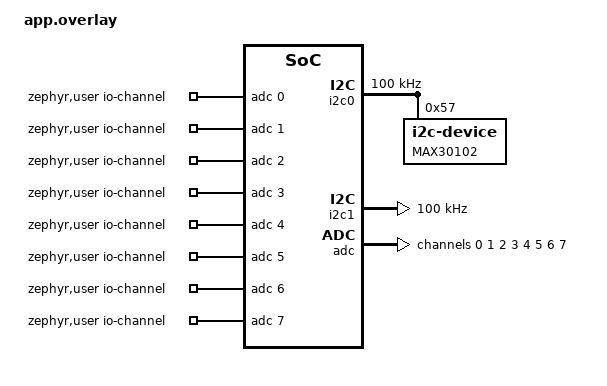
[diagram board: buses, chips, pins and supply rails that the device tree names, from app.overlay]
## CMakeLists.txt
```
#
# Copyright (c) 2018 Nordic Semiconductor
#
# SPDX-License-Identifier: LicenseRef-Nordic-5-Clause
#
cmake_minimum_required(VERSION 3.20.0)

find_package(Zephyr REQUIRED HINTS $ENV{ZEPHYR_BASE})
project(peripheral_uart)

# Add the src directory to include path
target_include_directories(app PRIVATE ${CMAKE_CURRENT_SOURCE_DIR}/src)
target_sources(app PRIVATE
  src/main.c
  src/adc.c
  src/i2c.c
  src/BMP280.c
  src/MLX90614.c
  src/MPU6050.c
  src/MAX30102.c
  src/spo2_algorithm.c
  src/aggregator.c
)

# # NORDIC SDK APP START
# target_sources(app PRIVATE
#   src/main.c
# )

# NORDIC SDK APP END
```

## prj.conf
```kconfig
CONFIG_BT=y
CONFIG_LOG=y
CONFIG_BT_SMP=y
CONFIG_BT_PERIPHERAL=y
CONFIG_BT_DIS=y
CONFIG_BT_DIS_PNP=n
CONFIG_BT_BAS=y
CONFIG_BT_DEVICE_NAME="Lunar Vitals"
CONFIG_BT_DEVICE_APPEARANCE=768
CONFIG_CBPRINTF_FP_SUPPORT=y 

# # Enable the UART driver
# CONFIG_UART_ASYNC_API=y
# CONFIG_NRFX_UARTE0=y
CONFIG_ADC=y
CONFIG_GPIO=y

# Make sure printk is printing to the UART console
CONFIG_CONSOLE=y


CONFIG_HEAP_MEM_POOL_SIZE=2048




# # Enable the NUS service
# CONFIG_BT_NUS=y

# # Enable bonding
# CONFIG_BT_SETTINGS=y
CONFIG_FLASH=y
CONFIG_FLASH_PAGE_LAYOUT=y
CONFIG_FLASH_MAP=y
CONFIG_NVS=y
CONFIG_SETTINGS=y

# Enable DK LED and Buttons library
CONFIG_DK_LIBRARY=y

# This example requires more stack
CONFIG_MAIN_STACK_SIZE=1152
CONFIG_SYSTEM_WORKQUEUE_STACK_SIZE=2048

# Config logger
CONFIG_LOG=y
CONFIG_USE_SEGGER_RTT=y
CONFIG_LOG_BACKEND_RTT=y

CONFIG_LOG_PRINTK=n

CONFIG_ASSERT=n

#i2C
CONFIG_I2C=y
CONFIG_I2C_NRFX=y

CONFIG_CBPRINTF_FP_SUPPORT=y
CONFIG_PRINTK=y
```

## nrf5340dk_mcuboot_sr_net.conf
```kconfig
#
# Copyright (c) 2022 Nordic Semiconductor
#
# SPDX-License-Identifier: LicenseRef-Nordic-5-Clause
#

CONFIG_MAIN_STACK_SIZE=10240
# Flash
CONFIG_FLASH=y

# MCUBoot serial
CONFIG_MCUBOOT_SERIAL=y
CONFIG_MCUBOOT_SERIAL_DIRECT_IMAGE_UPLOAD=y

# Decrease memory footprint
CONFIG_CBPRINTF_NANO=y
CONFIG_TIMESLICING=n
CONFIG_BOOT_BANNER=n
CONFIG_CONSOLE=n
CONFIG_CONSOLE_HANDLER=n
CONFIG_UART_CONSOLE=n
CONFIG_RTT_CONSOLE=n
CONFIG_USE_SEGGER_RTT=n
CONFIG_LOG=n
CONFIG_RESET_ON_FATAL_ERROR=n

# The following configurations are required to support serial recovery of the
# network image
CONFIG_PCD_APP=y

CONFIG_FLASH_SIMULATOR=y
CONFIG_FLASH_SIMULATOR_DOUBLE_WRITES=y
CONFIG_FLASH_SIMULATOR_STATS=n

CONFIG_BOOT_IMAGE_ACCESS_HOOKS=y
CONFIG_NRF53_RECOVERY_NETWORK_CORE=y

CONFIG_MCUBOOT_INDICATION_LED=y

CONFIG_BOOTLOADER_MCUBOOT=y
CONFIG_NRF53_UPGRADE_NETWORK_CORE=y
CONFIG_ADD_MCUBOOT_MEDIATE_SIM_FLASH_DTS=y
```

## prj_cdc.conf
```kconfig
#
# Copyright (c) 2021 Nordic Semiconductor
#
# SPDX-License-Identifier: LicenseRef-Nordic-5-Clause
#

# Enable the UART driver
CONFIG_UART_LINE_CTRL=y
CONFIG_UART_INTERRUPT_DRIVEN=y
CONFIG_UART_ASYNC_ADAPTER=y
CONFIG_USB_DEVICE_STACK=y
CONFIG_USB_DEVICE_REMOTE_WAKEUP=n
CONFIG_USB_CDC_ACM=y
CONFIG_USB_CDC_ACM_LOG_LEVEL_OFF=y

# Disable the UARTE0 enabled in default project configuration
CONFIG_NRFX_UARTE0=n
CONFIG_UART_NRFX=n

SB_CONFIG_NETCORE_IPC_RADIO_BT_RPC=y
SB_CONFIG_NETCORE_IPC_RADIO_BT_HCI_IPC=y
```

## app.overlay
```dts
/*
 * Copyright (c) 2022 Nordic Semiconductor ASA
 *
 * SPDX-License-Identifier: LicenseRef-Nordic-5-Clause
 */

/ {
	
	zephyr,user {
		// List all channels for io-channels
		io-channels = <&adc 0>, <&adc 1>, <&adc 2>, <&adc 3>,
		              <&adc 4>, <&adc 5>, <&adc 6>, <&adc 7>;
	};
	chosen {
		nordic,nus-uart = &uart0;
	};

};

&i2c0 {
    compatible = "nordic,nrf-twim";
    status = "okay";
    clock-frequency = <I2C_BITRATE_STANDARD>;
	max30102: max30102@57 {
        compatible = "i2c-device";
        reg = <0x57>;
        label = "MAX30102";
    }; 
};

&i2c1 {
    status = "okay";  
	clock-frequency = <I2C_BITRATE_STANDARD>;
};

&adc {
	#address-cells = <1>;
	#size-cells = <0>;
	status = "okay";

	// Define ADC channels
	channel@0 {
		reg = <0>;
		zephyr,gain = "ADC_GAIN_1_6";
		zephyr,reference = "ADC_REF_INTERNAL";
		zephyr,acquisition-time = <ADC_ACQ_TIME_DEFAULT>;
		zephyr,input-positive = <NRF_SAADC_AIN0>; /* P0.02 */
		zephyr,resolution = <12>;
	};

	channel@1 {
		reg = <1>;
		zephyr,gain = "ADC_GAIN_1_6";
		zephyr,reference = "ADC_REF_INTERNAL";
		zephyr,acquisition-time = <ADC_ACQ_TIME_DEFAULT>;
		zephyr,input-positive = <NRF_SAADC_AIN1>; /* P0.03 */
		zephyr,resolution = <12>;
	};

	channel@2 {
		reg = <2>;
		zephyr,gain = "ADC_GAIN_1_6";
		zephyr,reference = "ADC_REF_INTERNAL";
		zephyr,acquisition-time = <ADC_ACQ_TIME_DEFAULT>;
		zephyr,input-positive = <NRF_SAADC_AIN2>; /* P0.04 */
		zephyr,resolution = <12>;
	};

	channel@3 {
		reg = <3>;
		zephyr,gain = "ADC_GAIN_1_6";
		zephyr,reference = "ADC_REF_INTERNAL";
		zephyr,acquisition-time = <ADC_ACQ_TIME_DEFAULT>;
		zephyr,input-positive = <NRF_SAADC_AIN3>; /* P0.05 */
		zephyr,resolution = <12>;
	};

	channel@4 {
		reg = <4>;
		zephyr,gain = "ADC_GAIN_1_6";
		zephyr,reference = "ADC_REF_INTERNAL";
		zephyr,acquisition-time = <ADC_ACQ_TIME_DEFAULT>;
		zephyr,input-positive = <NRF_SAADC_AIN4>; /* P0.28 */
		zephyr,resolution = <12>;
	};

	channel@5 {
		reg = <5>;
		zephyr,gain = "ADC_GAIN_1_6";
		zephyr,reference = "ADC_REF_INTERNAL";
		zephyr,acquisition-time = <ADC_ACQ_TIME_DEFAULT>;
		zephyr,input-positive = <NRF_SAADC_AIN5>; /* P0.29 */
		zephyr,resolution = <12>;
	};

	channel@6 {
		reg = <6>;
		zephyr,gain = "ADC_GAIN_1_6";
		zephyr,reference = "ADC_REF_INTERNAL";
		zephyr,acquisition-time = <ADC_ACQ_TIME_DEFAULT>;
		zephyr,input-positive = <NRF_SAADC_AIN6>; /* P0.30 */
		zephyr,resolution = <12>;
	};

	channel@7 {
		reg = <7>;
		zephyr,gain = "ADC_GAIN_1_6";
		zephyr,reference = "ADC_REF_INTERNAL";
		zephyr,acquisition-time = <ADC_ACQ_TIME_DEFAULT>;
		zephyr,input-positive = <NRF_SAADC_AIN7>; /* P0.31 */
		zephyr,resolution = <12>;
	};
};
```

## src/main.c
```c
#include <zephyr/device.h>
#include <zephyr/drivers/i2c.h>
#include <zephyr/sys/printk.h>
#include <zephyr/kernel.h>
#include <stdint.h>
#include <stdio.h>
#include <stdlib.h>
#include "adc.h"
#include "MPU6050.h"
#include "MLX90614.h"
#include "BMP280.h"
#include "MAX30102.h"
#include "heart_rate.h"
#include "aggregator.h"
#include "i2c.h"

//------------bluetooth---------------

#include <zephyr/types.h>
#include <stddef.h>
#include <string.h>
#include <errno.h>
#include <zephyr/sys/printk.h>
#include <zephyr/sys/byteorder.h>
#include <zephyr/kernel.h>

#include <zephyr/bluetooth/bluetooth.h>
#include <zephyr/bluetooth/hci.h>
#include <zephyr/bluetooth/conn.h>
#include <zephyr/bluetooth/uuid.h>
#include <zephyr/bluetooth/gatt.h>
#include <zephyr/bluetooth/services/bas.h>

static const struct i2c_dt_spec dev_max30102 = MAX30102_DT_SPEC;

// Global buffer to store the current message
static char gatt_string_msg[1024] = "Hello, World!";

static const struct bt_data ad[] = {
	BT_DATA_BYTES(BT_DATA_FLAGS, (BT_LE_AD_GENERAL | BT_LE_AD_NO_BREDR)),
	BT_DATA_BYTES(BT_DATA_UUID16_ALL,
		      BT_UUID_16_ENCODE(BT_UUID_HTS_VAL),
		      BT_UUID_16_ENCODE(BT_UUID_DIS_VAL),
		      BT_UUID_16_ENCODE(BT_UUID_BAS_VAL)),
};

static const struct bt_data sd[] = {
	BT_DATA(BT_DATA_NAME_COMPLETE, CONFIG_BT_DEVICE_NAME, sizeof(CONFIG_BT_DEVICE_NAME) - 1),
};

#define BT_UUID_GATT_STRING BT_UUID_DECLARE_16(BT_UUID_GATT_STRING_VAL)

static ssize_t read_gatt_string(struct bt_conn *conn,
	const struct bt_gatt_attr *attr,
	void *buf, uint16_t len, uint16_t offset)
{
	return bt_gatt_attr_read(conn, attr, buf, len, offset, gatt_string_msg, strlen(gatt_string_msg));
}

static ssize_t write_gatt_string(struct bt_conn *conn, 
                                 const struct bt_gatt_attr *attr,
                                 const void *buf, 
                                 uint16_t len,
                                 uint16_t offset, 
                                 uint8_t flags)
{
    char value[1024]; // Adjust size as needed
    memcpy(value, buf, len);
    value[len] = '\0'; // Ensure null termination
    printk("Received string: %s\n", value);
    return len;
}
static void notify_subscribe_cb(const struct bt_gatt_attr *attr, uint16_t value)
{
    if (value == BT_GATT_CCC_NOTIFY) {
        printk("Client subscribed to notifications\n");
    } else {
        printk("Client unsubscribed from notifications\n");
    }
}

BT_GATT_SERVICE_DEFINE(gatt_service,
    BT_GATT_PRIMARY_SERVICE(BT_UUID_GATT),
    BT_GATT_CHARACTERISTIC(BT_UUID_GATT_STRING,
                           BT_GATT_CHRC_READ | BT_GATT_CHRC_WRITE | BT_GATT_CHRC_NOTIFY, 
                           BT_GATT_PERM_READ | BT_GATT_PERM_WRITE,
                           read_gatt_string, write_gatt_string, gatt_string_msg),
	BT_GATT_CCC(notify_subscribe_cb, BT_GATT_PERM_READ | BT_GATT_PERM_WRITE)
);


static void connected(struct bt_conn *conn, uint8_t err)
{
	if (err) {
		printk("Connection failed (err 0x%02x)\n", err);
	} else {
		printk("Connected\n");
	}
}

static void disconnected(struct bt_conn *conn, uint8_t reason)
{
	printk("Disconnected (reason 0x%02x)\n", reason);
}

BT_CONN_CB_DEFINE(conn_callbacks) = {
	.connected = connected,
	.disconnected = disconnected,
};

static void bt_ready(void)
{
	int err;

	printk("Bluetooth initialized\n");

	err = bt_le_adv_start(BT_LE_ADV_CONN, ad, ARRAY_SIZE(ad), sd, ARRAY_SIZE(sd));
	if (err) {
		printk("Advertising failed to start (err %d)\n", err);
		return;
	}

	printk("Advertising successfully started\n");
}

static void auth_cancel(struct bt_conn *conn)
{
	char addr[BT_ADDR_LE_STR_LEN];

	bt_addr_le_to_str(bt_conn_get_dst(conn), addr, sizeof(addr));

	printk("Pairing cancelled: %s\n", addr);
}

static struct bt_conn_auth_cb auth_cb_display = {
	.cancel = auth_cancel,
};

//------------bluetooth---------------

#define LOG_MODULE_NAME peripheral_uart
LOG_MODULE_REGISTER(LOG_MODULE_NAME);


#define RUN_STATUS_LED DK_LED1
#define RUN_LED_BLINK_INTERVAL 1000



//------------bluetooth---------------
//-------------LEDS--------------
#define LED1_NODE DT_ALIAS(led_custom_1)
static const struct device *gpio_dev;
#define RED_LED_PIN 2

void error_led(int status){
	gpio_pin_set(gpio_dev, RED_LED_PIN, status);
}

bool collect_data = true;


static K_SEM_DEFINE(ble_init_ok, 0, 1);

// static const struct i2c_dt_spec dev_max30102 = MAX30102_DT_SPEC;


void button_changed(uint32_t button_state, uint32_t has_changed)
{
   uint32_t buttons = button_state & has_changed;

    // Ignore debounce by checking if the new state is 0 (button quickly released)
    if (button_state == 0) {
        return;
    }

    // printf("Button changed: state=0x%08X, changed=0x%08X, pressed=0x%08X\n",
    //        button_state, has_changed, buttons);

	if(buttons == 1){
		
		collect_data = !collect_data;
		error_led(!collect_data);
		if(collect_data){
			printf("Collecting Data\n");
		}
		else{
			printf("Pausing Data Collection\n");
		}
	}

}

static void configure_gpio(void)
{
	int err;

#ifdef CONFIG_BT_NUS_SECURITY_ENABLED
	err = dk_buttons_init(button_changed);
	if (err) {
		LOG_ERR("Cannot init buttons (err: %d)", err);
	}
#endif /* CONFIG_BT_NUS_SECURITY_ENABLED */

	err = dk_leds_init();
	if (err) {
		LOG_ERR("Cannot init LEDs (err: %d)", err);
	} 
}

void send_message_to_bluetooth(const char *msg)
{
	// Safely copy the message to the global buffer
	strncpy(gatt_string_msg, msg, sizeof(gatt_string_msg) - 1);
	gatt_string_msg[sizeof(gatt_string_msg) - 1] = '\0'; // ensure null-termination

	// Notify the client (if notifications are supported and enabled)
	bt_gatt_notify(NULL, &gatt_service.attrs[1], gatt_string_msg, strlen(gatt_string_msg));

	// printk("%s\n", gatt_string_msg);
}

void configure_leds(void)
{
    gpio_dev = DEVICE_DT_GET(DT_NODELABEL(gpio0)); 

    if (!device_is_ready(gpio_dev)) {
        printk("Error: GPIO device is not ready.\n");
        return;
    }

    gpio_pin_configure(gpio_dev, RED_LED_PIN, GPIO_OUTPUT);

    error_led(0);
}



int main(void)
{
    int blink_status = 0;
    int err = 0;

    configure_gpio();
    configure_leds();
	//------------bluetooth---------------
	err = bt_enable(NULL);
    if (err) {
        printk("Bluetooth init failed (err %d)\n", err);
        return 0;
    }

    bt_ready();
    bt_conn_auth_cb_register(&auth_cb_display);
	// printk("UUID (16-bit): 0x%04X\n", BT_UUID_GATT_STRING_VAL);
	//------------bluetooth---------------
	int64_t last_send = k_uptime_get();
	//----------------------
	/* Verify ADC readiness */
    adc_init();
	i2c_init();
	max30102_default_setup(&dev_max30102);
	//-------------------------
    // Main loop to blink LED to indicate status
    while(1) {
		//send_gatt_string();
	
		dk_set_led(RUN_STATUS_LED, (++blink_status) % 2);

		aggregator_init();

		if(collect_data){
			i2c_read_data();
			get_adc_data();
			if (!d_i2c_is_ready(&dev_max30102)) {
				printk("MAX30102 not ready\n");
			} else {
				max30102_read_data_spo2(&dev_max30102);
    		}
		}

		int64_t now = k_uptime_get();
        if (now - last_send >= 1000) {
            aggregator_finalize_and_send();
            last_send = now;
        }
		
        k_sleep(K_MSEC(100));
    }
}
```

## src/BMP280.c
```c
#include <zephyr/device.h>
#include <zephyr/drivers/i2c.h>
#include <zephyr/sys/printk.h>
#include <zephyr/kernel.h>
#include "bmp280.h"
#include "i2c.h"
#include "aggregator.h"

// Calibration parameters
uint16_t dig_T1;
int16_t dig_T2, dig_T3;
uint16_t dig_P1;
int16_t dig_P2, dig_P3, dig_P4, dig_P5, dig_P6, dig_P7, dig_P8, dig_P9;
int32_t t_fine;

void bmp280_init(const struct device *i2c_dev) {
    uint8_t chip_id;

    // Read Chip ID
    if (i2c_read_register(i2c_dev, BMP280_ADDR, BMP280_REG_CHIPID, &chip_id) != 0 || chip_id != 0x58) {
        printk("BMP280 not detected or invalid Chip ID\n");
        return;
    }
    printk("BMP280 detected. Chip ID: 0x%x\n", chip_id);

    // Reset the sensor
    i2c_write_register(i2c_dev, BMP280_ADDR, BMP280_REG_SOFTRESET, 0xB6);
    k_sleep(K_MSEC(10));

    // Read calibration data
    uint8_t calib_data[24];
    if (i2c_read_registers(i2c_dev, BMP280_ADDR, BMP280_REG_CALIB_START, calib_data, sizeof(calib_data)) != 0) {
        printk("Error: Failed to read calibration data\n");
        return;
    }

    // Parse calibration data
    dig_T1 = (calib_data[1] << 8) | calib_data[0];
    dig_T2 = (calib_data[3] << 8) | calib_data[2];
    dig_T3 = (calib_data[5] << 8) | calib_data[4];
    dig_P1 = (calib_data[7] << 8) | calib_data[6];
    dig_P2 = (calib_data[9] << 8) | calib_data[8];
    dig_P3 = (calib_data[11] << 8) | calib_data[10];
    dig_P4 = (calib_data[13] << 8) | calib_data[12];
    dig_P5 = (calib_data[15] << 8) | calib_data[14];
    dig_P6 = (calib_data[17] << 8) | calib_data[16];
    dig_P7 = (calib_data[19] << 8) | calib_data[18];
    dig_P8 = (calib_data[21] << 8) | calib_data[20];
    dig_P9 = (calib_data[23] << 8) | calib_data[22];

    // Configure sensor: normal mode, oversampling x1 for temp & pressure
    uint8_t ctrl_meas = (0x01 << 5) | (0x01 << 2) | 0x03;
    i2c_write_register(i2c_dev, BMP280_ADDR, BMP280_REG_CONTROL, ctrl_meas);
    i2c_write_register(i2c_dev, BMP280_ADDR, BMP280_REG_CONFIG, 0);
}

void read_bmp280_data(const struct device *i2c_dev) {
    uint8_t data[6];

    if (i2c_read_registers(i2c_dev, BMP280_ADDR, BMP280_REG_PRESSURE_MSB, data, sizeof(data)) != 0) {
        printk("Failed to read BMP280 data\n");
        aggregator_add_float(0.0f);
        return;
    }

    int32_t adc_T = (data[3] << 12) | (data[4] << 4) | (data[5] >> 4);
    int32_t adc_P = (data[0] << 12) | (data[1] << 4) | (data[2] >> 4);

    // Temperature compensation
    int32_t var1 = ((((adc_T >> 3) - ((int32_t)dig_T1 << 1))) * ((int32_t)dig_T2)) >> 11;
    int32_t var2 = (((((adc_T >> 4) - ((int32_t)dig_T1)) * ((adc_T >> 4) - ((int32_t)dig_T1))) >> 12) * ((int32_t)dig_T3)) >> 14;
    t_fine = var1 + var2;
    // float celsius = ((t_fine * 5 + 128) >> 8) / 100.0f;
    
    // Pressure compensation
    int64_t var1_p = ((int64_t)t_fine) - 128000;
    int64_t var2_p = var1_p * var1_p * (int64_t)dig_P6 + ((var1_p * (int64_t)dig_P5) << 17) + (((int64_t)dig_P4) << 35);
    var1_p = (((var1_p * var1_p * (int64_t)dig_P3) >> 8) + ((var1_p * (int64_t)dig_P2) << 12));
    var1_p = ((((int64_t)1 << 47) + var1_p) * (int64_t)dig_P1) >> 33;

    if (var1_p == 0) {
        printk("Error: Division by zero in pressure calculation\n");
        return;
    }

    int64_t p = ((((int64_t)1048576 - adc_P) << 31) - var2_p) * 3125 / var1_p;
    var1_p = (((int64_t)dig_P9) * (p >> 13) * (p >> 13)) >> 25;
    var2_p = (((int64_t)dig_P8) * p) >> 19;
    p = ((p + var1_p + var2_p) >> 8) + (((int64_t)dig_P7) << 4);

    float pressure = (float)p / 25600;  // Convert to hPa

    aggregator_add_float((double)pressure);

}
```

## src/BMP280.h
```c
#ifndef BMP280_H
#define BMP280_H

#include <zephyr/device.h>
#include <zephyr/drivers/i2c.h>
#include <zephyr/sys/printk.h>
#include <zephyr/kernel.h>
#include <stdint.h>

// HOW TO CONNECT: (BMP --> Nordic)
// 3Vo --> VDD
// GND --> GND
// SCK --> Pin 27
// SDO --> GND (for I2C Address 0x76)    *VDO --> VDD (makes I2C address 0x77)*
// SDI --> Pin 26


#define BMP280_ADDR 0x77  // Adjust to 0x77 if SDO pin is high

// BMP280 Register Addresses
#define BMP280_REG_CALIB_START    0x88
#define BMP280_REG_CHIPID         0xD0
#define BMP280_REG_SOFTRESET      0xE0
#define BMP280_REG_CONTROL        0xF4
#define BMP280_REG_CONFIG         0xF5
#define BMP280_REG_PRESSURE_MSB   0xF7
#define BMP280_REG_TEMPERATURE_MSB 0xFA

void bmp280_init(const struct device *i2c_dev);
void read_bmp280_data(const struct device *i2c_dev);

#endif
```

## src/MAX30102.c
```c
#include "MAX30102.h"
#include "i2c.h"
#include "heart_rate.h"
#include "spo2_algorithm.h"
#include "aggregator.h"
#include <stdlib.h>

static const uint8_t MAX30102_FIFO_CONFIG        = 0x08;
static const uint8_t MAX30102_MODE_CONFIG        = 0x09;
static const uint8_t MAX30102_SPO2_CONFIG        = 0x0A;
static const uint8_t MAX30102_LED1_PA            = 0x0C;
static const uint8_t MAX30102_LED2_PA            = 0x0D;

static const uint8_t MAX30102_FIFO_WR_PTR        = 0x04;
static const uint8_t MAX30102_FIFO_O_CNTR        = 0x05;
static const uint8_t MAX30102_FIFO_RD_PTR        = 0x06;

static sensor_struct sensor_data;

void max30102_default_setup(const struct i2c_dt_spec *dev_max30102)
{
    max30102_pulse_oximeter_setup(dev_max30102, 1, false, 15, SPO2, 100, 441, 4096);
}

/*
 * @brief Setup the pulse oximeter
 * @param sample_avg The number of samples to average. Must be a multiple of 2 between 1 and 32 - default 4
 * @param fifo_rollover Whether the FIFO should rollover. Must be true or false - default true
 * @param fifo_int_threshold The FIFO interrupt threshold. Must be between 0 and 15 - default 4
 * @param mode The mode of the pulse oximeter. Must be one of HEART_RATE, SPO2, or MULTI_LED - default MULTI_LED
 * @param sample_rate The sample rate of the ADC. Must be one of 50, 100, 200, 400, 800, 1000, 1600, 3200 - default 50
 * @param pulse_width The pulse width of the LED. Must be one of 69, 118, 215, 411 - default 69
 * @param adc_range The range of the ADC. Must be one of 2048, 4096, 8192, 16384 - default 16384
 */
void max30102_pulse_oximeter_setup(const struct i2c_dt_spec *dev_max30102, uint8_t sample_avg, bool fifo_rollover, 
		uint8_t fifo_int_threshold, MAX30102_mode_t mode, int sample_rate, int pulse_width, int adc_range)
{
    uint8_t address, data;

    // check i2c_device is ready
    if (!d_i2c_is_ready(dev_max30102)) {
        return;
    }

    // reset the device
    address = MAX30102_MODE_CONFIG;
    data = 0x40; // x_1_xxx_xxx
    if (d_i2c_write_to_reg(dev_max30102, address, data) == false) {
		printk("Failed to reset device\n");
		return;
	}

	// set the sample average (SMP_AVE) and FIFO rollover (FIFO_ROLLOVER_EN) and FIFO interrupt threshold (FIFO_A_FULL)
	address = MAX30102_FIFO_CONFIG;
	data = 0x00;
    switch(sample_avg){
		case 1:
			data |= 0x00; // 000_x_xxxx
			break;
		case 2:
			data |= 0x20; // 001_x_xxxx
			break;
		case 4:
			data |= 0x40; // 010_x_xxxx
			break;
		case 8:
			data |= 0x60; // 011_x_xxxx
			break;
		case 16:
			data |= 0x80; // 100_x_xxxx
			break;
		case 32:
			data |= 0xA0; // 101_x_xxxx
			break;
		default:
			data |= 0x40; // 010_x_xxxx
			break;
	}
	switch(fifo_rollover){
		case true:
			data |= 0x10; // xxx_1_xxxx
			break;
		case false:
			data |= 0x00; // xxx_0_xxxx
			break;
	}
	data |= (fifo_int_threshold & 0x0F); // xxx_x_DDDD
	d_i2c_write_to_reg(dev_max30102, address, data);

	//mode = heart rate // 0_0_xxx_010
	//mode = multi led // 0_0_xxx_111
	//mode = sp02 // 0_0_xxx_011
	address = MAX30102_MODE_CONFIG;
	data = mode & 0x03; 
	d_i2c_write_to_reg(dev_max30102, address, data);

	//adc range = 16384, sample rate = 50, pulse width = 69 // x11_000_00
	//SP02 ADC = 4096, sample rate = 100, pulse width = 411 // x01_001_11

	address = MAX30102_SPO2_CONFIG;
	data = 0x00;
	switch(adc_range){
		case 2048:
			data |= 0x00; // x_00_xxx_xx
			break;
		case 4096:
			data |= 0x20; // x_01_xxx_xx
			break;
		case 8192:
			data |= 0x40; // x_10_xxx_xx
			break;
		case 16384:
			data |= 0x60; // x_11_xxx_xx
			break;
		default:
			data |= 0x60; // x_11_xxx_xx
			break;
	}

	switch(sample_rate){
		case 50:
			data |= 0x00; // x_xx_000_xx
			break;
		case 100:
			data |= 0x04; // x_xx_001_xx
			break;
		case 200:
			data |= 0x08; // x_xx_010_xx
			break;
		case 400:
			data |= 0x0C; // x_xx_011_xx
			break;
		case 800:
			data |= 0x10; // x_xx_100_xx
			break;
		case 1000:
			data |= 0x14; // x_xx_101_xx
			break;
		case 1600:
			data |= 0x18; // x_xx_110_xx
			break;
		case 3200:
			data |= 0x1C; // x_xx_111_xx
			break;
		default:
			data |= 0x00; // x_xx_000_xx
			break;
	}
	switch(pulse_width){
		case 69:
			data |= 0x00; // x_xx_xxx_00
			break;
		case 118:
			data |= 0x01; // x_xx_xxx_01
			break;
		case 215:
			data |= 0x02; // x_xx_xxx_10
			break;
		case 411:
			data |= 0x03; // x_xx_xxx_11
			break;
		default:
			data |= 0x00; // x_xx_xxx_00
			break;

	}
	d_i2c_write_to_reg(dev_max30102, address, data);
	
	// set power level to 6.2mA (0x1F)
	address = MAX30102_LED1_PA;
	data = 0x1F;
	d_i2c_write_to_reg(dev_max30102, address, data);

	address = MAX30102_LED2_PA;
	data = 0x1F;
	d_i2c_write_to_reg(dev_max30102, address, data);

	// clear fifo
	d_i2c_write_to_reg(dev_max30102, MAX30102_FIFO_WR_PTR, 0x00);
	d_i2c_write_to_reg(dev_max30102, MAX30102_FIFO_O_CNTR, 0x00);
	d_i2c_write_to_reg(dev_max30102, MAX30102_FIFO_RD_PTR, 0x00);
}

/*
 * @brief Get the data from the pulse oximeter
 * @return The number of samples read
 * TODO: need to implement this better - it currently only reads one sample
 */
int max30102_check(const struct i2c_dt_spec *dev_max30102)
{
	bool ret;

	uint8_t data[6];
	ret = d_i2c_read_registers(dev_max30102, 0x07, data, 6);

	if (!ret) {
        return -1;
    }

	if (ret == true){ 
		sensor_data.head_ptr ++;
		sensor_data.head_ptr %= DATA_BUFFER_SIZE;	
		sensor_data.red[sensor_data.head_ptr] = ((data[0] << 16) | (data[1] << 8) | data[2]) & 0x3FFFF;
		sensor_data.ir[sensor_data.head_ptr] = ((data[3] << 16) | (data[4] << 8) | data[5]) & 0x3FFFF;
	}
	return 6;
}

int bufferLength = BUFFERLENGTH; //buffer length of 100 stores 4 seconds of samples running at 25sps
int spo2 = 0;
int heartRate = 0;
int8_t validSPO2 = 0; //indicator to show if the SPO2 calculation is valid
int8_t validHeartRate = 0; //indicator to show if the heart rate calculation is valid

uint32_t irBuffer[BUFFERLENGTH]; // infrared LED sensor data
uint32_t redBuffer[BUFFERLENGTH]; // red LED sensor data

int gpio_led_setup(const struct gpio_dt_spec *led0) {
	if(!gpio_is_ready_dt(led0)) printk("GPIO is not ready\n");
	int ret = gpio_pin_configure_dt(led0, GPIO_OUTPUT);
	if (ret < 0) {
		printk("Failed to configure LED0\n");
		return -1;
	}
	return 0;
}

int gpio_led_toggle(const struct gpio_dt_spec *led0) {
	int ret = gpio_pin_toggle_dt(led0);
	if (ret < 0) {
		printk("Failed to toggle LED0\n");
		return -1;
	}
	return 0;
}

int max30102_available(void)
{
	int numSamples = sensor_data.head_ptr - sensor_data.tail_ptr;
	if (numSamples < 0) numSamples += DATA_BUFFER_SIZE;
	return numSamples;
}

void max30102_next_sample(void)
{
	if(max30102_available() > 0){
		sensor_data.tail_ptr++;
		sensor_data.tail_ptr %= DATA_BUFFER_SIZE;
	}
}

void max30102_read_data_spo2(const struct i2c_dt_spec * dev_max30102) 
{
	for(int i = 0; i < bufferLength; i++)
	{
		while(max30102_available() == 0) {
			if (max30102_check(dev_max30102) < 0) {
            	printk("Failed to read MAX30102 data\n");
        		aggregator_add_int(0.0f);
            	return;  
       		}
		}

		redBuffer[i] = sensor_data.red[sensor_data.tail_ptr];
		irBuffer[i] = sensor_data.ir[sensor_data.tail_ptr];
		max30102_next_sample();

		// printk(">red=%d, ir=%d\n", redBuffer[i], irBuffer[i]);
	}

	//calculate heart rate and SpO2 after first 100 samples (first 4 seconds of samples)
	maxim_heart_rate_and_oxygen_saturation(irBuffer, bufferLength, redBuffer, &spo2, &validSPO2, &heartRate, &validHeartRate);

	if (irBuffer[bufferLength-1] < 100000) { // checking IR value to see if finger is placed
		spo2 = 0;
	}

	aggregator_add_int(spo2);
}
```

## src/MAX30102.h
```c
#ifndef MAX30102_H_
#define MAX30102_H_

#include <zephyr/kernel.h>
#include <zephyr/drivers/i2c.h>
#include <zephyr/drivers/gpio.h>

#define LED0_NODE DT_ALIAS(led0)
#define LED0_DT_SPEC GPIO_DT_SPEC_GET(LED0_NODE, gpios)

#define MAX30102_NODE DT_NODELABEL(max30102)
#define MAX30102_DT_SPEC I2C_DT_SPEC_GET(MAX30102_NODE)

#define BUFFERLENGTH 100

#define DATA_BUFFER_SIZE 32
typedef struct buffer {
	    uint32_t red[DATA_BUFFER_SIZE];
	    uint32_t ir[DATA_BUFFER_SIZE];
	    uint8_t head_ptr;
	    uint8_t tail_ptr;
} sensor_struct;

typedef enum{
	HEART_RATE = 2,
	SPO2 = 3,
	MULTI_LED = 7
} MAX30102_mode_t;

void max30102_default_setup(const struct i2c_dt_spec *dev_max30102);
void max30102_pulse_oximeter_setup(const struct i2c_dt_spec *dev_max30102, uint8_t sample_avg, bool fifo_rollover, uint8_t fifo_int_threshold, MAX30102_mode_t mode, int sample_rate, int pulse_width, int adc_range);
int max30102_check(const struct i2c_dt_spec *dev_max30102);

void max30102_read_data_spo2(const struct i2c_dt_spec *dev_max30102);
int max30102_available(void);
void max30102_next_sample(void);

int gpio_led_setup(const struct gpio_dt_spec *led0);


#endif 
```

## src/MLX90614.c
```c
#include <zephyr/device.h>
#include <zephyr/drivers/i2c.h>
#include <zephyr/kernel.h>
#include <zephyr/sys/printk.h>
#include <string.h>
#include <stdio.h>

#include "i2c.h"
#include "mlx90614.h"
#include "aggregator.h"

/**
 * @brief Read a 16-bit register from the MLX90614 sensor.
 *
 * @param i2c_dev   I2C device handle
 * @param reg_addr  Register address
 * @param data      Output pointer for raw register value
 * @return 0 on success, negative error code on failure
 */
int read_mlx90614_register(const struct device *i2c_dev,
                           uint8_t reg_addr,
                           uint16_t *data)
{
    uint8_t buffer[3];
    int ret = i2c_write_read(i2c_dev,
                             MLX90614_ADDR,
                             &reg_addr, 1,
                             buffer, 3);
    if (ret < 0) {
        return ret;
    }

    /* Combine low and high byte */
    *data = buffer[0] | (buffer[1] << 8);
    return 0;
}

/**
 * @brief Probe and wake the MLX90614 on the I2C bus.
 *
 * @param i2c_dev  I2C device handle
 */
void mlx90614_init(const struct device *i2c_dev)
{
    uint8_t device_id;

    if (i2c_read_register(i2c_dev,
                          MLX90614_ADDR,
                          MLX_DEVICE_ID,
                          &device_id) != 0) {
        printk("MLX90614 not detected! (ID=0x%02X)\n", device_id);
        return;
    }

    printk("MLX90614 detected (ID=0x%02X)\n", device_id);
    k_msleep(10);
}

/**
 * @brief Read ambient and object temperatures, convert to °C, and enqueue as JSON.
 *
 * @param i2c_dev  I2C device handle
 */
void read_mlx90614_data(const struct device *i2c_dev)
{
    uint16_t ambient_raw = 0;
    uint16_t object_raw  = 0;
    float    ambient_c   = 0.0f;
    float    object_c    = 0.0f;

    /* Ambient temperature */
    if (read_mlx90614_register(i2c_dev, MLX90614_TA, &ambient_raw) == 0) {
        ambient_c = ambient_raw * 0.02f - 273.15f;  // Convert to °C
        aggregator_add_float((double)ambient_c);
    } else {
        printk("Failed to read MLX90614 data\n");
        return;
    }

    /* Object temperature */
    if (read_mlx90614_register(i2c_dev, MLX90614_TOBJ1, &object_raw) == 0) {
        object_c = object_raw * 0.02f - 273.15f;    // Convert to °C
        aggregator_add_float((double)object_c);
    } else {
        printk("Failed to read MLX90614 data\n");
        aggregator_add_float(0.0f);
        aggregator_add_float(0.0f);
        return;
    }
}
```

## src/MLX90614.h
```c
#ifndef MLX90614_H
#define MLX90614_H

#include <zephyr/device.h>
#include <zephyr/drivers/i2c.h>
#include <zephyr/sys/printk.h>
#include <zephyr/kernel.h>
#include <stdint.h>
#include <stdio.h>
#include <stdlib.h>

// MLX90614 Registers
#define MLX90614_ADDR 0x5A // Default I2C address of MLX90614
#define MLX90614_TA 0x06 // Ambient temperature register
#define MLX90614_TOBJ1 0x07 // Object 1 temperature register
#define MLX_DEVICE_ID 0x2E // Device ID register

int read_mlx90614_register(const struct device *i2c_dev, uint8_t reg_addr, uint16_t *data);
void read_mlx90614_data(const struct device *i2c_dev);
void mlx90614_init(const struct device *i2c_dev);
#endif
```

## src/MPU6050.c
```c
#include <zephyr/device.h>
#include <zephyr/drivers/i2c.h>
#include <zephyr/kernel.h>
#include <zephyr/sys/printk.h>
#include <math.h>
#include <string.h>
#include <stdio.h>

#include "mpu6050.h"
#include "i2c.h"
#include "aggregator.h"

/* ACCELEROMETER */
#define MAX_STEP_HISTORY   200       /* Number of recent step timestamps to keep */
#define STEP_WINDOW_MS     20000    /* Time window (ms) for rate calculation */
#define STEP_DEBOUNCE_MS   400      /* Minimum interval (ms) between steps */
#define STEP_THRESHOLD     0.25f     /* Minimum change in vector magnitude to count a step */  

/* GYROSCOPE */
#define MAX_GYRO_HISTORY   200     /* how many rotation events to remember */
#define GYRO_WINDOW_MS     20000    /* same window as steps */
#define GYRO_DEBOUNCE_MS   400     /* Minimum interval (ms) between rotations */
#define GYRO_THRESHOLD     30.0f    /* deg/s change needed to count a “swing” */

/* Step counter state */
typedef struct {
    uint32_t last_step_time;                   /* Timestamp of last detected step */
    float    vector_previous;                  /* Previous acceleration magnitude */
    float    accel_x, accel_y, accel_z;        /* Latest accel readings (g) */
    float    gyro_x, gyro_y, gyro_z;           /* Latest gyro readings (°/s) */
    uint32_t step_timestamps[MAX_STEP_HISTORY];/* Circular buffer of step times */
    int      step_history_index;               /* Next write index in buffer */
    uint32_t step_count;                       /* Total step count for last window (unused) */
    uint32_t rate;                             /* Steps per minute */
    uint32_t window_start_time;                /* Start time of current window */
    uint32_t last_activity_time;               /* Last time we detected activity */

    float    prev_gyro_mag;                    /* last gyro‐vector magnitude */
    uint32_t last_gyro_time;                   /* last time we counted a rotation */
    uint32_t gyro_timestamps[MAX_GYRO_HISTORY];
    int      gyro_history_index;
    uint32_t rotation_rate;                    /* Rotations per minute */
} StepCounter;

static StepCounter step_counter;

static void init_step_counter(void)
{
    memset(&step_counter, 0, sizeof(step_counter));
    step_counter.window_start_time = k_uptime_get_32();
    step_counter.last_activity_time = step_counter.window_start_time;
}

/**
 * @brief Calculate step rate over the last STEP_WINDOW_MS sliding window.
 *
 * @return Number of steps per minute.
 */
float calculate_step_rate(void)
{
    uint32_t now = k_uptime_get_32();
    int count = 0;
    for (int i = 0; i < MAX_STEP_HISTORY; i++) {
        uint32_t ts = step_counter.step_timestamps[i];
        if (ts != 0 && (now - ts) <= STEP_WINDOW_MS) {
            count++;
        }
    }
    step_counter.rate = count * 3.0f;
    return (float)step_counter.rate;
}

/**
 * @brief Calculate rotation rate over the last GYRO_WINDOW_MS sliding window.
 *
 * @return Rotations per minute.
 */
float calculate_rotation_rate(void)
{
    uint32_t now = k_uptime_get_32();
    int count = 0;
    for (int i = 0; i < MAX_GYRO_HISTORY; i++) {
        uint32_t ts = step_counter.gyro_timestamps[i];
        if (ts != 0 && (now - ts) <= GYRO_WINDOW_MS) {
            count++;
        }
    }
    step_counter.rotation_rate = count * 3.0f;
    return (float)step_counter.rotation_rate;
}

/**
 * @brief Detect a step from acceleration data.
 *
 * Uses change in vector magnitude and a debounce interval.
 */
static void process_step_detection(float ax, float ay, float az)
{
    uint32_t now = k_uptime_get_32();
    float vector = sqrtf(ax*ax + ay*ay + az*az);
    float delta  = fabsf(vector - step_counter.vector_previous);

    /* If change exceeds threshold and enough time has passed, count a step */
    if (delta > STEP_THRESHOLD && (now - step_counter.last_step_time) > STEP_DEBOUNCE_MS) {
        step_counter.last_step_time = now;

        /* Store timestamp in circular buffer */
        step_counter.step_timestamps[step_counter.step_history_index] = now;
        step_counter.step_history_index =
            (step_counter.step_history_index + 1) % MAX_STEP_HISTORY;
    }
    step_counter.vector_previous = vector;
}

/**
 * @brief Detect a rotation from gyroscope data.
 *
 * Uses the change in gyroscope magnitude to detect rotation swings.
 */
static void process_rotation_detection(float gx, float gy, float gz)
{
    uint32_t now = k_uptime_get_32();
    float mag   = sqrtf(gx*gx + gy*gy + gz*gz);
    float delta = fabsf(mag - step_counter.prev_gyro_mag);

    if (delta > GYRO_THRESHOLD && (now - step_counter.last_gyro_time) > GYRO_DEBOUNCE_MS) {
        step_counter.last_gyro_time = now;

        /* Store timestamp in circular buffer */
        step_counter.gyro_timestamps[step_counter.gyro_history_index] = now;
        step_counter.gyro_history_index =
            (step_counter.gyro_history_index + 1) % MAX_GYRO_HISTORY;
    }
    step_counter.prev_gyro_mag = mag;
}

/**
 * @brief Initialize the MPU6050 sensor and step counter.
 */
void mpu6050_init(const struct device *i2c_dev)
{
    uint8_t device_id;

    /* Verify sensor presence */
    if (i2c_read_register(i2c_dev, MPU6050_ADDR, MPU_DEVICE_ID, &device_id) != 0) {
        printk("MPU6050 not detected! (ID=0x%02X)\n", device_id);
        return;
    }

    printk("MPU6050 detected (ID=0x%02X)\n", device_id);
    k_msleep(10);

    /* Wake sensor */
    if (i2c_write_register(i2c_dev, MPU6050_ADDR, PWR_MGMT_1, 0x00) != 0) {
        printk("Failed to wake up MPU6050\n");
    }

    /* initialize step_counter state */
    init_step_counter();
}

/**
 * @brief Read accelerometer and gyroscope data, detect events, compute rates, and aggregate JSON.
 */
void read_mpu6050_data(const struct device *i2c_dev)
{
    int16_t accel_raw[3], gyro_raw[3];
    uint8_t buf[6];

    /* Read accelerometer registers */
    if (i2c_read_registers(i2c_dev, MPU6050_ADDR, ACCEL_XOUT_H, buf, 6) != 0) {
        printk("Failed to read MPU6050 data\n");
        aggregator_add_float(0.0f);
        aggregator_add_float(0.0f);
        aggregator_add_float(0.0f);
        aggregator_add_int(0.0f);
        aggregator_add_float(0.0f);
        aggregator_add_float(0.0f);
        aggregator_add_float(0.0f);
        aggregator_add_int(0.0f);
        return;
    }
    accel_raw[0] = (int16_t)((buf[0] << 8) | buf[1]);
    accel_raw[1] = (int16_t)((buf[2] << 8) | buf[3]);
    accel_raw[2] = (int16_t)((buf[4] << 8) | buf[5]);
    step_counter.accel_x = accel_raw[0] / 16384.0f;
    step_counter.accel_y = accel_raw[1] / 16384.0f;
    step_counter.accel_z = accel_raw[2] / 16384.0f;

    process_step_detection(
        step_counter.accel_x,
        step_counter.accel_y,
        step_counter.accel_z
    );
    float step_rate = calculate_step_rate();

    aggregator_add_float(step_counter.accel_x);
    aggregator_add_float(step_counter.accel_y);
    aggregator_add_float(step_counter.accel_z);
    aggregator_add_int(step_rate);

    gyro_raw[0] = (int16_t)((buf[0] << 8) | buf[1]);
    gyro_raw[1] = (int16_t)((buf[2] << 8) | buf[3]);
    gyro_raw[2] = (int16_t)((buf[4] << 8) | buf[5]);
    step_counter.gyro_x = gyro_raw[0] / 131.0f;
    step_counter.gyro_y = gyro_raw[1] / 131.0f;
    step_counter.gyro_z = gyro_raw[2] / 131.0f;

    process_rotation_detection(
        step_counter.gyro_x,
        step_counter.gyro_y,
        step_counter.gyro_z
    );
    float rotation_rate = calculate_rotation_rate();

    aggregator_add_float(step_counter.gyro_x);
    aggregator_add_float(step_counter.gyro_y);
    aggregator_add_float(step_counter.gyro_z);
    aggregator_add_int(rotation_rate);
}
```

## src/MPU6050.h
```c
#ifndef MPU6050_H
#define MPU6050_H

#include <zephyr/device.h>
#include <zephyr/drivers/i2c.h>
#include <zephyr/sys/printk.h>
#include <zephyr/kernel.h>
#include <stdint.h>
#include <stdio.h>
#include <stdlib.h>

// MPU6050 Registers
#define MPU6050_ADDR 0x68          // Default I2C address of MPU6050
#define MPU_DEVICE_ID 0x75
#define PWR_MGMT_1   0x6B
#define ACCEL_XOUT_H 0x3B
#define GYRO_XOUT_H  0x43

void mpu6050_init(const struct device *i2c_dev);
void read_mpu6050_data(const struct device *i2c_dev);
//void read_mpu6050_data(const struct device *i2c_dev, char *buffer, size_t size);
#endif
```

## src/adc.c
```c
/** @file
 *  @brief Nordic UART Bridge Service (NUS) sample
 */
#include "adc.h"
#include "aggregator.h"
#include <math.h>  // Include for exponential calculations if needed

#define ADC_REF_VOLTAGE_MV 600 // Internal reference in mV
#define ADC_GAIN (1.0 / 6.0)    // Gain of 1/6
#define ADC_RESOLUTION 4096     // 12-bit resolution
#define NUMOFADCCHANNELS 2

extern void send_message_to_bluetooth(const char *message);

/* ADC buffer and sequence configuration */
static int16_t buf;
static struct adc_sequence sequence = {
    .buffer = &buf,
    .buffer_size = sizeof(buf), 
};


// -----------------Filtering Pulse ------------------
#define TIME_WINDOW_MS 20000

bool peak_detected = false;
int32_t threshold = 1605; 
uint16_t buffer_index = 0;
uint16_t beat_count = 0;
static int32_t prev_val_heart = 0;
int32_t bpm_exp = 0;
uint64_t last_bpm_calc_time = 0;

// -------- Filtering Respiratory---------------------------------------------   
#define MAX_PEAKS_BREATH               15     
#define MIN_PEAK_INTERVAL_MS_BREATH    1000   
#define BREATH_WINDOW_MS               20000  
#define MOVING_AVERAGE_WINDOW          5

int32_t prev_val_moving_avg_breath = 0;
bool rising_breath = false;
uint32_t last_peak_time_breath = 0;
uint32_t peak_timestamps_breath[MAX_PEAKS_BREATH];
int peak_index_breath = 0;

/* Moving Average Filter */
int32_t moving_average_filter_breath(int32_t *buffer, int32_t new_sample) {
    static int32_t sum = 0;
    static int index = 0;
    static int32_t data_buffer[MOVING_AVERAGE_WINDOW] = {0};

    sum -= data_buffer[index];
    data_buffer[index] = new_sample;
    sum += new_sample;

    index = (index + 1) % MOVING_AVERAGE_WINDOW;
    return sum / MOVING_AVERAGE_WINDOW;
}

bool detect_peak_breath(int32_t current_value, int32_t prev_value, bool *rising) {
    if (*rising && current_value < prev_value) {
        *rising = false;
    } else if (!*rising && current_value > prev_value + 8) {
        *rising = true;
        return true;
    }
    return false;
}

void add_peak_timestamp_breath(uint32_t timestamp) {
    peak_timestamps_breath[peak_index_breath] = timestamp;
    peak_index_breath = (peak_index_breath + 1) % MAX_PEAKS_BREATH;
}

uint32_t calculate_breathing_rate_windowed(void) {
    uint32_t now = k_uptime_get();
    int count = 0;
    for (int i = 0; i < MAX_PEAKS_BREATH; i++) {
        uint32_t t = peak_timestamps_breath[i];
        if ((now - t) <= BREATH_WINDOW_MS) {
            count++;
        }
    }
    return (uint32_t)(count * 3);
}

int32_t convert_to_mv(int16_t raw_value) {
    return (int32_t)((raw_value * ADC_REF_VOLTAGE_MV * (1.0 / ADC_GAIN)) / ADC_RESOLUTION);
}

void adc_init(){
	for(int i = 0; i < NUMOFADCCHANNELS; i++){
		int err = 0;
		const struct adc_dt_spec *adc_channel = &adc_channels[i];
		if (!adc_is_ready_dt(adc_channel)) {
			printk("ADC controller device %s not ready\n", adc_channel->dev->name);
			return;
		}

		/* Configure ADC channel */
		int err1 = adc_channel_setup_dt(adc_channel);
		if (err1 < 0) {
			printk("Could not setup ADC channel (%d)\n", err);
			return;
		}

		/* Initialize ADC sequence */
		err1 = adc_sequence_init_dt(adc_channel, &sequence);
		if (err1 < 0) {
			printk("Could not initialize ADC sequence (%d)\n", err);
			return;
		}
	}
}

void get_adc_data() {
    for (int i = 0; i < NUMOFADCCHANNELS; i++) {
        const struct adc_dt_spec *adc_channel = &adc_channels[i];

        // Update the ADC sequence to select only this channel
        sequence.channels = BIT(adc_channel->channel_id); 
        // Read ADC data for the current channel
        int err1 = adc_read(adc_channel->dev, &sequence);
        if (err1 < 0) {
            printk("ADC read failed for channel %d (%d)\n", i, err1);
        } else {
            // Convert the raw value to millivolts
            int32_t BRPM = 0;
            int32_t val_mv = convert_to_mv(buf);
            
            if (i == 0) { // Respiratory sensor
                int32_t moving_avg_breath = moving_average_filter_breath(&prev_val_moving_avg_breath, val_mv);

                if (detect_peak_breath(moving_avg_breath, prev_val_moving_avg_breath, &rising_breath)) {
                    uint32_t now = k_uptime_get();
                    if (now - last_peak_time_breath >= MIN_PEAK_INTERVAL_MS_BREATH) {
                        last_peak_time_breath = now;
                        add_peak_timestamp_breath(now);
                    }
                }
                prev_val_moving_avg_breath = moving_avg_breath;

                BRPM = calculate_breathing_rate_windowed();

                aggregator_add_int(moving_avg_breath);
                aggregator_add_int(BRPM);

            } else if (i == 1) {// Pulse Sensor
                uint64_t now = k_uptime_get(); 

                // Peak detection
                if (val_mv > threshold && prev_val_heart <= threshold && !peak_detected) {
                    beat_count++;
                    peak_detected = true;
                } else if (val_mv < threshold) {
                    peak_detected = false;
                }

                prev_val_heart = val_mv;

                uint64_t elapsed_ms = now - last_bpm_calc_time;
                if (elapsed_ms >= TIME_WINDOW_MS) {
                    if (beat_count > 0) {
                        bpm_exp = beat_count * 3;
                    } else {
                        bpm_exp = 0;
                    }

                    beat_count = 0;
                    last_bpm_calc_time = now;
                }

                aggregator_add_int(val_mv);
                aggregator_add_int(bpm_exp);
            }
        }
    }
}
```

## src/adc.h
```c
#ifndef ADC_H
#define ADC_H


#include <uart_async_adapter.h>

#include <zephyr/types.h>
#include <zephyr/kernel.h>
#include <zephyr/drivers/uart.h>
#include <zephyr/usb/usb_device.h>

#include <zephyr/device.h>
#include <zephyr/devicetree.h>
#include <soc.h>

#include <zephyr/bluetooth/bluetooth.h>
#include <zephyr/bluetooth/uuid.h>
#include <zephyr/bluetooth/gatt.h>
#include <zephyr/bluetooth/hci.h>

#include <bluetooth/services/nus.h>

#include <dk_buttons_and_leds.h>

#include <zephyr/settings/settings.h>

#include <stdio.h>
#include <string.h>

#include <zephyr/logging/log.h>

#include <bluetooth/services/nus.h>

#include <zephyr/kernel.h>
#include <zephyr/device.h>
#include <zephyr/devicetree.h>
#include <zephyr/drivers/adc.h>

static const struct adc_dt_spec adc_channels[8] = {
    ADC_DT_SPEC_GET_BY_IDX(DT_PATH(zephyr_user), 7),
    ADC_DT_SPEC_GET_BY_IDX(DT_PATH(zephyr_user), 5),
};
int32_t convert_to_mv(int16_t raw_value);
void adc_init();
void get_adc_data();

#endif
```

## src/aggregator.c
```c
#include <stdio.h>
#include <string.h>

#define AGG_BUFFER_SIZE 128
static char agg_buffer[AGG_BUFFER_SIZE];
static int  values_received;

extern void send_message_to_bluetooth(const char *msg);

void aggregator_init(void) {
    values_received = 0;
    agg_buffer[0]  = '\0';
}

void aggregator_add_int(int v) {
    char tmp[32];
    // no decimals
    snprintf(tmp, sizeof(tmp), "%d", v);
    if (values_received > 0) {
        strncat(agg_buffer, ",", AGG_BUFFER_SIZE - strlen(agg_buffer) - 1);
    }
    strncat(agg_buffer, tmp, AGG_BUFFER_SIZE - strlen(agg_buffer) - 1);
    values_received++;
}

void aggregator_add_float(double v) {
    char tmp[32];
    // exactly one decimal
    snprintf(tmp, sizeof(tmp), "%.1f", v);
    if (values_received > 0) {
        strncat(agg_buffer, ",", AGG_BUFFER_SIZE - strlen(agg_buffer) - 1);
    }
    strncat(agg_buffer, tmp, AGG_BUFFER_SIZE - strlen(agg_buffer) - 1);
    values_received++;
}

void aggregator_finalize_and_send(void) {
    if (values_received == 0) {
        return;
    }
    strncat(agg_buffer, "\n", AGG_BUFFER_SIZE - strlen(agg_buffer) - 1);
    send_message_to_bluetooth(agg_buffer);
    aggregator_init();
}
```

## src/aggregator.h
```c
#ifndef AGGREGATOR_H
#define AGGREGATOR_H

void aggregator_init(void);
void aggregator_add_int(int v);
void aggregator_add_float(double v);
void aggregator_finalize_and_send(void);

#endif // AGGREGATOR_H
```
